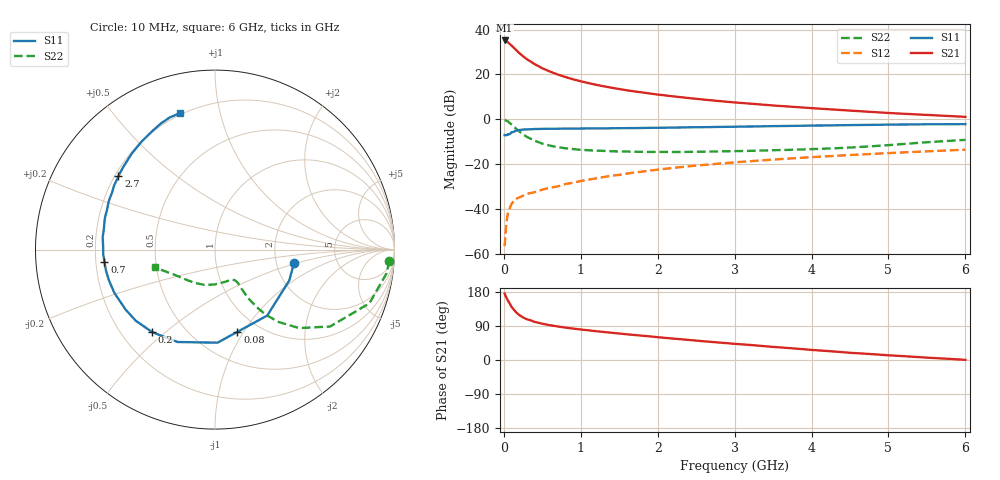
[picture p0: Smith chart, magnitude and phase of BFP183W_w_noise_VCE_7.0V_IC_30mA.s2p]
! (c) 2017  Infineon Technologies AG, Munich
! Infineon Technologies  Discrete & RF Semiconductors
! BFP183W
! VCE =  7.0 V,  IC =  30 mA
! Common Emitter S-Parameters:  Jan 2017
# GHz  S  MA  R  50
!  f  S11  S21  S12  S22
! GHz  MAG  ANG  MAG  ANG  MAG  ANG  MAG  ANG
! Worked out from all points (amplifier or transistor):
!   77 points, 10 MHz to 6 GHz, reference 50 ohm
!   highest |S21| = 35.2 dB at 10 MHz (marker M1)
!   |S21| within 3 dB of that: start of sweep to 122.5 MHz
!   unconditionally stable (mu >= 1): 1.019 GHz to 3.416 GHz
!   at 130 MHz: K = 0.29, MSG = 34.1 dB, |S12| = -36.3 dB
!   at 2.2 GHz: K = 1.06, MAG = 14.5 dB, |S12| = -21.6 dB
!   at 6 GHz: K = 0.86, MSG = 7.3 dB, |S12| = -13.5 dB
!   lowest NFmin = 1.39 dB at 450 MHz
!   S11 on the Smith chart (normalised r, x): 10 MHz: 2.51, -0.48; 80 MHz: 0.79, -0.94; 200 MHz: 0.33, -0.45; 700 MHz: 0.24, -0.05; 2.7 GHz: 0.21, +0.32; 6 GHz: 0.19, +0.76
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0.01  0.4466 -9.9  57.29 175.5  0.0015 93.4  0.9737 -3.7
0.02  0.4481 -22.7  56.3 170.4  0.0026 87.0  0.9648 -7.9
0.05  0.4688 -51.6  52.77 157.6  0.0077 73.6  0.9108 -19.2
0.08  0.4749 -74.7  47.16 147.7  0.0109 65.0  0.8201 -27.4
0.1  0.5188 -88.4  44.36 139.9  0.0131 61.6  0.7707 -33.8
0.15  0.5556 -112.1  36.43 127.6  0.0168 53.1  0.6395 -43.1
0.2  0.5778 -127.2  30.09 118.7  0.0182 50.4  0.5383 -48.6
0.25  0.5932 -138.1  25.43 112.2  0.02 48.9  0.4639 -51.9
0.3  0.5997 -146.1  21.82 107.5  0.0219 47.6  0.4074 -53.7
0.4  0.6104 -156.7  16.99 100.6  0.0239 48.8  0.3344 -55.5
0.5  0.6154 -164.0  13.78 95.7  0.0272 51.5  0.2893 -55.8
0.6  0.6187 -169.4  11.62 91.8  0.0301 52.9  0.2599 -55.9
0.7  0.6195 -173.7  9.995 88.6  0.0321 54.3  0.2401 -55.5
0.9  0.623 179.3  7.809 82.9  0.0388 58.1  0.2181 -55.9
1.1  0.6298 173.7  6.431 78.3  0.0455 60.3  0.2056 -56.8
1.5  0.6373 164.6  4.737 69.9  0.0583 61.3  0.1931 -61.0
2.1  0.6533 152.8  3.417 58.4  0.0795 61.3  0.1881 -72.6
2.7  0.6754 142.8  2.657 47.8  0.1 59.0  0.1922 -88.0
3.1  0.6905 136.7  2.314 41.2  0.1137 57.2  0.1976 -98.5
4.1  0.7306 123.0  1.737 25.2  0.1474 51.3  0.2205 -125.1
5.1  0.7668 112.4  1.362 11.3  0.1806 45.3  0.2751 -150.6
6  0.7844 104.6  1.139 0.4  0.2117 39.0  0.3496 -163.9
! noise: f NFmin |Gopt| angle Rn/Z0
0.45  1.39  0.27  180  0.1
0.9  1.43  0.3  -178  0.09
1.9  1.92  0.45  -156  0.1
2.4  2.17  0.5  -152  0.15
